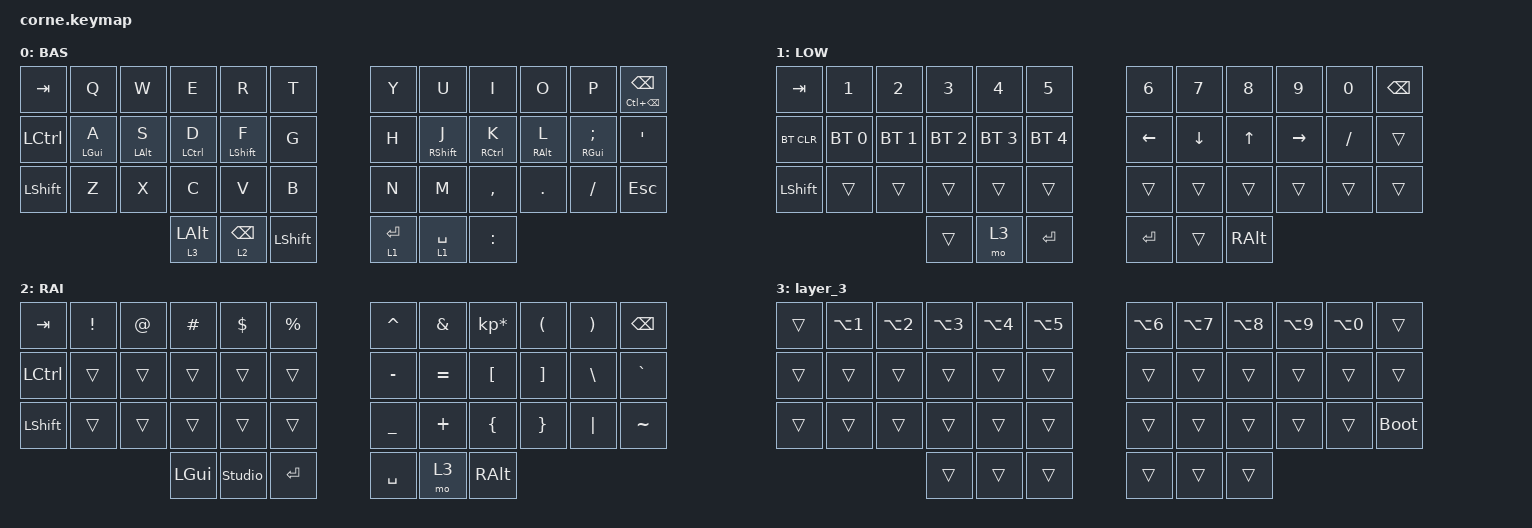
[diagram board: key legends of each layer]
/*
 * Copyright (c) 2020 The ZMK Contributors
 *
 * SPDX-License-Identifier: MIT
 */

#include <dt-bindings/led/led.h>
#include <dt-bindings/zmk/reset.h>
#include <behaviors.dtsi>
#include <dt-bindings/zmk/bt.h>
#include <dt-bindings/zmk/keys.h>

&led_strip { chain-length = <27>; };

/ {
    behaviors {
        HR_shift_R: HR_shift_R {
            compatible = "zmk,behavior-hold-tap";
            label = "HR_SHIFT_R";
            bindings = <&kp>, <&kp>;

            #binding-cells = <2>;
            tapping-term-ms = <230>;
            hold-while-undecided;
            hold-trigger-key-positions = <0 1 2 3 4 5 12 13 14 15 16 17 24 25 26 27 28 29 36 37 38>;
            hold-trigger-on-release;
        };

        HR_shift_L: HR_shift_L {
            compatible = "zmk,behavior-hold-tap";
            label = "HR_SHIFT_L";
            bindings = <&kp>, <&kp>;

            #binding-cells = <2>;
            tapping-term-ms = <230>;
            hold-while-undecided;
            hold-trigger-on-release;
            hold-trigger-key-positions = <6 7 8 9 10 11 18 19 20 21 22 23 30 31 32 33 34 35 39 40 41>;
        };

        HR_Mod_L: HR_Mod_L {
            compatible = "zmk,behavior-hold-tap";
            label = "HR_MOD_L";
            bindings = <&kp>, <&kp>;

            #binding-cells = <2>;
            flavor = "tap-preferred";
            tapping-term-ms = <230>;
            hold-while-undecided;
            hold-trigger-on-release;
            hold-trigger-key-positions = <6 7 8 9 10 11 18 19 20 21 22 23 30 31 32 33 34 35 39 40 41>;
        };

        HR_Mod_R: HR_Mod_R {
            compatible = "zmk,behavior-hold-tap";
            label = "HR_MOD_R";
            bindings = <&kp>, <&kp>;

            #binding-cells = <2>;
            flavor = "tap-preferred";
            tapping-term-ms = <230>;
            hold-while-undecided;
            hold-trigger-on-release;
            hold-trigger-key-positions = <0 1 2 3 4 5 12 13 14 15 16 17 24 25 26 27 28 29 36 37 38>;
        };

        long_press: long_press {
            compatible = "zmk,behavior-hold-tap";
            label = "LONG_PRESS";
            bindings = <&kp>, <&kp>;

            #binding-cells = <2>;
            tapping-term-ms = <180>;
        };
    };

    keymap {
        compatible = "zmk,keymap";

        default_layer {
            display-name = "BAS";

            // -----------------------------------------------------------------------------------------
            // |  TAB |  Q  |  W  |  E  |  R  |  T  |   |  Y  |  U   |  I  |  O  |  P  | BKSP |
            // | CTRL |  A  |  S  |  D  |  F  |  G  |   |  H  |  J   |  K  |  L  |  ;  |  '   |
            // | SHFT |  Z  |  X  |  C  |  V  |  B  |   |  N  |  M   |  ,  |  .  |  /  | ESC  |
            //                    | ALT | LWR | SPC |   | ENT | RSE  | BKSP|

            bindings = <
&kp TAB    &kp Q                 &kp W                 &kp E              &kp R                &kp T             &kp Y        &kp U                 &kp I              &kp O                  &kp P                     &long_press LC(BSPC) BACKSPACE
&kp LCTRL  &HR_Mod_L LEFT_GUI A  &HR_Mod_L LEFT_ALT S  &HR_Mod_L LCTRL D  &HR_shift_L LSHFT F  &kp G             &kp H        &HR_shift_R RSHIFT J  &HR_Mod_R RCTRL K  &HR_Mod_R RIGHT_ALT L  &HR_Mod_R RGUI SEMICOLON  &kp SQT
&kp LSHFT  &kp Z                 &kp X                 &kp C              &kp V                &kp B             &kp N        &kp M                 &kp COMMA          &kp DOT                &kp FSLH                  &kp ESC
                                                       &lt 3 LEFT_ALT     &lt 2 BACKSPACE      &kp LEFT_SHIFT    &lt 1 ENTER  &lt 1 SPACE           &kp COLON
            >;
        };

        lower_layer {
            display-name = "LOW";

            // -----------------------------------------------------------------------------------------
            // |  TAB |  1  |  2  |  3  |  4  |  5  |   |  6  |  7  |  8  |  9  |  0  | BKSP |
            // | BTCLR| BT1 | BT2 | BT3 | BT4 | BT5 |   | LFT | DWN |  UP | RGT |     |      |
            // | SHFT |     |     |     |     |     |   |     |     |     |     |     |      |
            //                    | GUI |     | SPC |   | ENT |     | ALT |

            bindings = <
&kp TAB     &kp N1        &kp N2        &kp N3        &kp N4        &kp N5          &kp N6     &kp N7    &kp N8    &kp N9     &kp N0     &kp BSPC
&bt BT_CLR  &bt BT_SEL 0  &bt BT_SEL 1  &bt BT_SEL 2  &bt BT_SEL 3  &bt BT_SEL 4    &kp LEFT   &kp DOWN  &kp UP    &kp RIGHT  &kp SLASH  &trans
&kp LSHFT   &trans        &trans        &trans        &trans        &trans          &trans     &trans    &trans    &trans     &trans     &trans
                                        &trans        &mo 3         &kp ENTER       &kp ENTER  &trans    &kp RALT
            >;
        };

        raise_layer {
            display-name = "RAI";

            // -----------------------------------------------------------------------------------------
            // |  TAB |  !  |  @  |  #  |  $  |  %  |   |  ^  |  &  |  *  |  (  |  )  | BKSP |
            // | CTRL |     |     |     |     |     |   |  -  |  =  |  [  |  ]  |  \  |  `   |
            // | SHFT |     |     |     |     |     |   |  _  |  +  |  {  |  }  | "|" |  ~   |
            //                    | GUI |     | SPC |   | ENT |     | ALT |

            bindings = <
&kp TAB    &kp EXCL  &kp AT  &kp HASH  &kp DLLR        &kp PRCNT    &kp CARET  &kp AMPS   &kp KP_MULTIPLY  &kp LPAR  &kp RPAR  &kp BSPC
&kp LCTRL  &trans    &trans  &trans    &trans          &trans       &kp MINUS  &kp EQUAL  &kp LBKT         &kp RBKT  &kp BSLH  &kp GRAVE
&kp LSHFT  &trans    &trans  &trans    &trans          &trans       &kp UNDER  &kp PLUS   &kp LBRC         &kp RBRC  &kp PIPE  &kp TILDE
                             &kp LGUI  &studio_unlock  &kp ENTER    &kp SPACE  &mo 3      &kp RALT
            >;
        };

        layer_3 {
            bindings = <
&trans  &kp LA(NUMBER_1)  &kp LA(NUMBER_2)  &kp LA(NUMBER_3)  &kp LA(NUMBER_4)  &kp LA(N5)    &kp LA(NUMBER_6)  &kp LA(NUMBER_7)  &kp LA(N8)  &kp LA(N9)  &kp LA(N0)  &trans
&trans  &trans            &trans            &trans            &trans            &trans        &trans            &trans            &trans      &trans      &trans      &trans
&trans  &trans            &trans            &trans            &trans            &trans        &trans            &trans            &trans      &trans      &trans      &bootloader
                                            &trans            &trans            &trans        &trans            &trans            &trans
            >;
        };
    };
};
